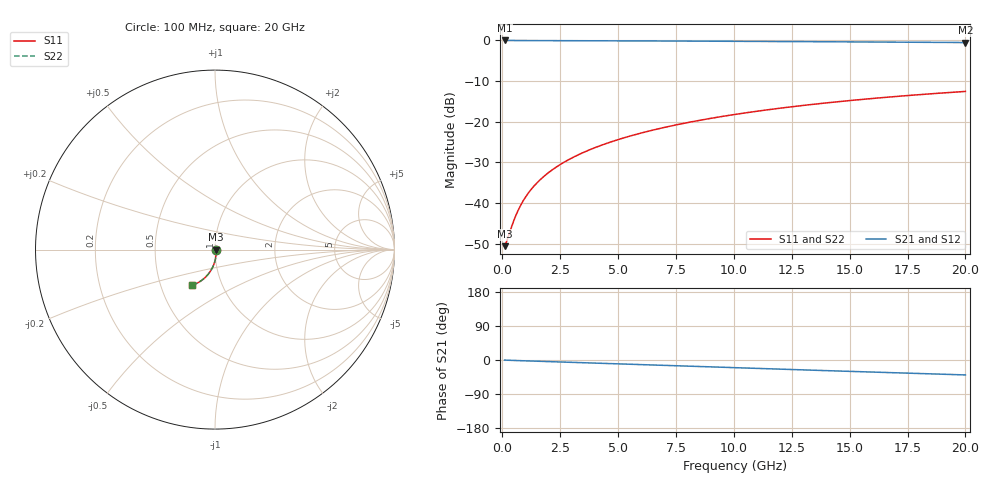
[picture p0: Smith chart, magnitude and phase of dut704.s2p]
! Touchstone file exported from HFSS 2026.1.0
!  File:  C:/ffzhzh/LocalFiles/Ansys_Project_Files/temp_train_TMRDL_704_1783154449_55132.aedt
!  Generated:  04:42:08 PM Jul  4, 2026
!  Design:  TMRDL
!  Project:  temp_train_TMRDL_704_1783154449_55132
! Variables:
!  h_bsmrdl = 2um
!  h_ox = 20um
!  h_rdl = 5um
!  h_sub = 80um
!  h_tmrdl = 3.16um
!  h_tsv = 80um
!  h_via = 3um
!  l_bsmrdl = 300um
!  l_sub = 1041.01um
!  l_tmrdl = 641.01um
!  m_sub = 200um
!  pitch = 29.59um
!  r_tsv = 6um
!  s_tmrdl = 10um
!  w_bsmrdl = 18um
!  w_sub = 500um
!  w_tmrdl = 28.15um
!  x_tsv_center1 = 655.085um
!  x_tsv_center2 = 973.085um
!  x_tsv_center3 = 1642.245um
!  x_tsv_center4 = 1960.245um
!  x_tsv_center5 = 2629.405um
!  x_tsv_center6 = 2947.405um
# GHz S MA R 50.000000
! Terminal data exported
! Port[1] = TM_RDL1_1_T1
! Port[2] = TM_RDL1_1_T2
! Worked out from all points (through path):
!   200 points, 100 MHz to 20 GHz, reference 50 ohm
!   highest |S21| = -0.03 dB at 100 MHz (marker M1); lowest = -0.5 dB at 20 GHz (marker M2)
!   group delay of S21, straight-line fit = 5.46 ps
!   lowest |S11| = -50.6 dB at 100 MHz (marker M3), VSWR 1.01, Z = 50.3 - j0.0305 ohm
!   |S11| at or under -10 dB: start of sweep to end of sweep
!   |S22| runs from -50.6 to -12.5 dB; largest |S21 - S12| = 2e-15
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0.1  0.002966 -5.9  0.997 -0.3  0.997 -0.3  0.002966 -5.9
! Gamma 0 0 0 0
! Port Impedance 50 0 50 0
0.2  0.003466 -12.8  0.9966 -0.5  0.9966 -0.5  0.003466 -12.8
0.4  0.005121 -27.9  0.9954 -1.0  0.9954 -1.0  0.005121 -27.9
0.5  0.006139 -34.7  0.9949 -1.2  0.9949 -1.2  0.006139 -34.7
0.7  0.008349 -45.7  0.994 -1.6  0.994 -1.6  0.008349 -45.7
0.8  0.0095 -50.0  0.9936 -1.8  0.9936 -1.8  0.0095 -50.0
1  0.01184 -57.0  0.9931 -2.2  0.9931 -2.2  0.01184 -57.0
1.3  0.01541 -64.3  0.9925 -2.8  0.9925 -2.8  0.01541 -64.3
1.7  0.0202 -70.8  0.992 -3.6  0.992 -3.6  0.02019 -70.8
2.2  0.02621 -76.1  0.9913 -4.6  0.9913 -4.6  0.02621 -76.1
2.8  0.03346 -80.4  0.9905 -5.9  0.9905 -5.9  0.03345 -80.4
3.5  0.04196 -84.0  0.9895 -7.3  0.9895 -7.3  0.04196 -84.0
4.2  0.05053 -86.8  0.9883 -8.7  0.9883 -8.7  0.05053 -86.8
5  0.06039 -89.4  0.9867 -10.3  0.9867 -10.3  0.06038 -89.4
5.9  0.07154 -92.0  0.9848 -12.2  0.9848 -12.2  0.07153 -92.0
6.8  0.08274 -94.4  0.9826 -14.0  0.9826 -14.0  0.08273 -94.4
8.3  0.1014 -98.0  0.9788 -17.0  0.9788 -17.0  0.1014 -98.0
10.1  0.1237 -102.1  0.9737 -20.5  0.9737 -20.5  0.1237 -102.1
11.7  0.1433 -105.6  0.9688 -23.6  0.9688 -23.6  0.1433 -105.6
13.4  0.1636 -109.2  0.9633 -26.9  0.9633 -26.9  0.1635 -109.2
16.7  0.2012 -116.0  0.952 -33.2  0.952 -33.2  0.2012 -116.0
20  0.2359 -122.6  0.94 -39.4  0.94 -39.4  0.2358 -122.6
